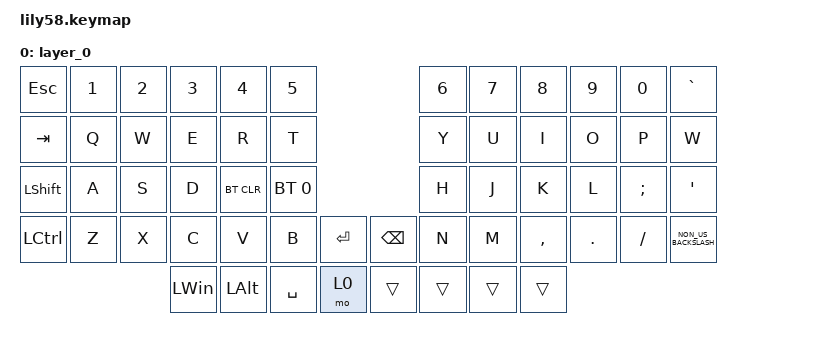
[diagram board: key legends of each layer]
#include <behaviors.dtsi>
#include <dt-bindings/zmk/bt.h>
#include <dt-bindings/zmk/keys.h>

/ {
    keymap {
        compatible = "zmk,keymap";

        layer_0 {
            bindings = <
&kp ESCAPE        &kp N1  &kp N2  &kp N3        &kp N4        &kp N5                                    &kp N6  &kp N7  &kp N8     &kp N9      &kp N0         &kp GRAVE
&kp TAB           &kp Q   &kp W   &kp E         &kp R         &kp T                                     &kp Y   &kp U   &kp I      &kp O       &kp P          &kp W
&kp LEFT_SHIFT    &kp A   &kp S   &kp D         &bt BT_CLR    &bt BT_SEL 0                              &kp H   &kp J   &kp K      &kp L       &kp SEMICOLON  &kp SQT
&kp LEFT_CONTROL  &kp Z   &kp X   &kp C         &kp V         &kp B         &kp ENTER    &kp BACKSPACE  &kp N   &kp M   &kp COMMA  &kp PERIOD  &kp SLASH      &kp NON_US_BACKSLASH
                                  &kp LEFT_WIN  &kp LEFT_ALT  &kp SPACE     &mo 0        &trans         &trans  &trans  &trans
            >;
        };
    };
};

